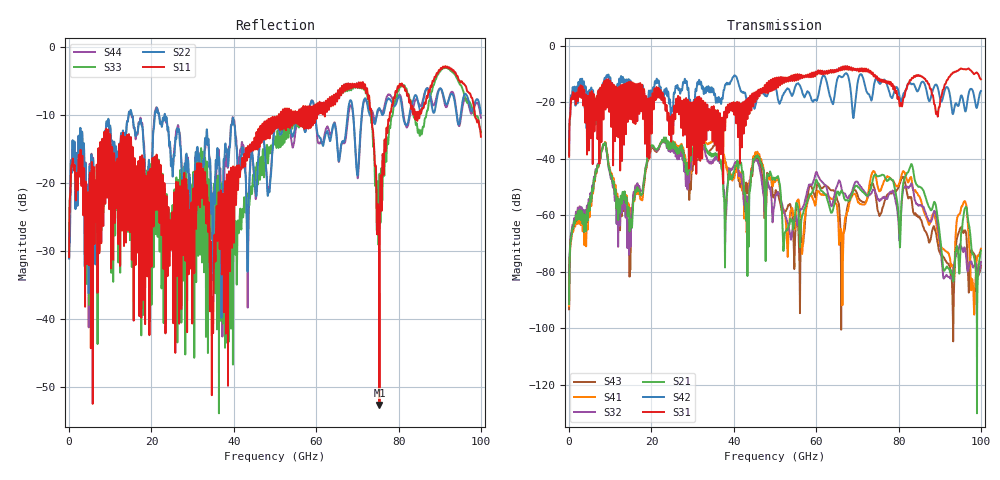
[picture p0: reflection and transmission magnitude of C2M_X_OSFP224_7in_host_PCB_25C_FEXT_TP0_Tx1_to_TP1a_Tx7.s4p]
# GHz S RI R 45
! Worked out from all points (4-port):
!   4000 points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, 25 MHz to 100 GHz, reference 45 ohm
!   strongest paths, dB at 25 MHz, 25.02 GHz, 50.02 GHz, 75.03 GHz, 100 GHz:
!     S31: -39.2, -24.7, -11.6, -12.1, -11.8
!     S42: -38.6, -21.8, -13.7, -12.6, -15.9
!     S21: -91.6, -36.1, -47.5, -46.2, -72.5
!     S32: -89.9, -37.4, -54.3, -54.3, -76.5
!     S41: -92.1, -35.0, -48.1, -50.3, -71.9
!     S43: -93.3, -36.1, -52.6, -58.6, -77.9
!   lowest |S11| = -52.7 dB at 75.38 GHz (marker M1), VSWR 1.00, Z = 45 - j0.209 ohm
!   |S11| at or under -10 dB: start of sweep to 50.93 GHz; 73.45 GHz to 77.87 GHz (4.419 GHz wide, 5.84 % of centre); 98.56 GHz to end of sweep (the widest 3 of 26)
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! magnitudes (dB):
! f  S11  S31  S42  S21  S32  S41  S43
! 25 MHz  -30.9  -39.2  -38.6  -91.6  -89.9  -92.1  -93.3
! 8.55 GHz  -12.5  -12.5  -12.0  -34.9  -35.0  -34.9  -35.0
! 14.62 GHz  -13.8  -15.0  -12.7  -62.1  -71.2  -57.8  -73.2
! 23.1 GHz  -21.2  -18.6  -16.3  -32.4  -32.8  -32.6  -32.9
! 52.38 GHz  -9.3  -11.3  -16.4  -66.4  -59.6  -59.3  -58.6
! 75.38 GHz  -52.7  -12.1  -13.3  -46.0  -55.0  -51.5  -60.2
! 100 GHz  -13.2  -11.8  -15.9  -72.5  -76.5  -71.9  -77.9
